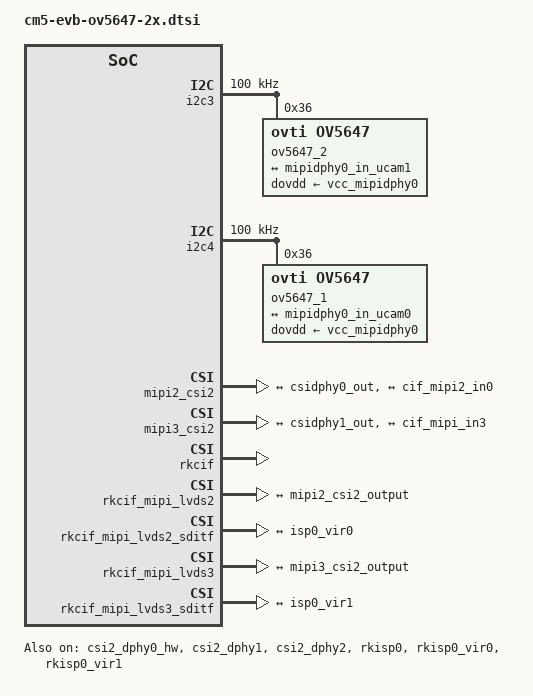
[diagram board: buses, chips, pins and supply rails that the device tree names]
// SPDX-License-Identifier: (GPL-2.0+ OR MIT)
/*
 * Copyright (c) 2021 Rockchip Electronics Co., Ltd.
 *
 */
 
 /*mipi csi*/
 
&i2c3 {
	status = "okay";
	pinctrl-names = "default";
	pinctrl-0 = <&i2c3m0_xfer>;
	clock-frequency = <100000>;
	ov5647_2: ov5647-2@36 {
                status = "okay";
                compatible = "ovti,ov5647";
                reg = <0x36>;
				clocks = <&cru CLK_MIPI_CAMARAOUT_M0>;
                clock-names = "xvclk";
				power-domains = <&power RK3588_PD_VI>;
				dovdd-supply = <&vcc_mipidphy0>;
				rockchip,camera-module-index = <1>;
				rockchip,camera-module-facing = "front";
				rockchip,camera-module-name = "THDS11073LarganCAM0";
				rockchip,camera-module-lens-name = "40122a1";

                port {
                        ov5647_out2: endpoint {
                                remote-endpoint = <&mipidphy0_in_ucam1>;
                                data-lanes = <1 2>;
                        };
                };
        };

};

&i2c4 {
	status = "okay";
	pinctrl-names = "default";
	pinctrl-0 = <&i2c4m3_xfer>;
	clock-frequency = <100000>;
	ov5647_1: ov5647-1@36 {
                status = "okay";
                compatible = "ovti,ov5647";
                reg = <0x36>;
				clocks = <&cru CLK_MIPI_CAMARAOUT_M0>;
                clock-names = "xvclk";
				power-domains = <&power RK3588_PD_VI>;
				dovdd-supply = <&vcc_mipidphy0>;
				rockchip,camera-module-index = <1>;
				rockchip,camera-module-facing = "front";
				rockchip,camera-module-name = "THDS11073LarganCAM0";
				rockchip,camera-module-lens-name = "40122a1";

                port {
                        ov5647_out1: endpoint {
                                remote-endpoint = <&mipidphy0_in_ucam0>;
                                data-lanes = <1 2>;
                        };
                };
        };

};

&csi2_dphy0_hw {
	status = "okay";
};

&csi2_dphy1 {
	status = "okay";

	ports {
		#address-cells = <1>;
		#size-cells = <0>;
		port@0 {
			reg = <0>;
			#address-cells = <1>;
			#size-cells = <0>;

			mipidphy0_in_ucam0: endpoint@1 {
				reg = <1>;
				remote-endpoint = <&ov5647_out1>;
				data-lanes = <1 2>;
			};

		};
		port@1 {
			reg = <1>;
			#address-cells = <1>;
			#size-cells = <0>;

			csidphy0_out: endpoint@0 {
				reg = <0>;
				remote-endpoint = <&mipi2_csi2_input>;
			};
		};
	};
};

&csi2_dphy2 {
	status = "okay";

	ports {
		#address-cells = <1>;
		#size-cells = <0>;
		port@0 {
			reg = <0>;
			#address-cells = <1>;
			#size-cells = <0>;

			mipidphy0_in_ucam1: endpoint@1 {
				reg = <1>;
				remote-endpoint = <&ov5647_out2>;
				data-lanes = <1 2>;
			};

		};
		port@1 {
			reg = <1>;
			#address-cells = <1>;
			#size-cells = <0>;

			csidphy1_out: endpoint@0 {
				reg = <0>;
				remote-endpoint = <&mipi3_csi2_input>;
			};
		};
	};
};

&mipi2_csi2 {
	status = "okay";

	ports {
		#address-cells = <1>;
		#size-cells = <0>;

		port@0 {
			reg = <0>;
			#address-cells = <1>;
			#size-cells = <0>;

			mipi2_csi2_input: endpoint@1 {
				reg = <1>;
				remote-endpoint = <&csidphy0_out>;
			};
		};

		port@1 {
			reg = <1>;
			#address-cells = <1>;
			#size-cells = <0>;

			mipi2_csi2_output: endpoint@0 {
				reg = <0>;
				remote-endpoint = <&cif_mipi2_in0>;
			};
		};
	};
};

&mipi3_csi2 {
	status = "okay";

	ports {
		#address-cells = <1>;
		#size-cells = <0>;

		port@0 {
			reg = <0>;
			#address-cells = <1>;
			#size-cells = <0>;

			mipi3_csi2_input: endpoint@1 {
				reg = <1>;
				remote-endpoint = <&csidphy1_out>;
			};
		};

		port@1 {
			reg = <1>;
			#address-cells = <1>;
			#size-cells = <0>;

			mipi3_csi2_output: endpoint@0 {
				reg = <0>;
				remote-endpoint = <&cif_mipi_in3>;
			};
		};
	};
};

&rkcif {
	status = "okay";
};

&rkcif_mipi_lvds2 {
	status = "okay";

	port {
		cif_mipi2_in0: endpoint {
			remote-endpoint = <&mipi2_csi2_output>;
		};
	};
};

&rkcif_mipi_lvds2_sditf {
	status = "okay";

	port {
		mipi_lvds2_sditf: endpoint {
			remote-endpoint = <&isp0_vir0>;
		};
	};
};

&rkcif_mipi_lvds3 {
	status = "okay";

	port {
		cif_mipi_in3: endpoint {
			remote-endpoint = <&mipi3_csi2_output>;
		};
	};
};

&rkcif_mipi_lvds3_sditf {
	status = "okay";

	port {
		mipi3_lvds_sditf: endpoint {
			remote-endpoint = <&isp0_vir1>;
		};
	};
};


&rkcif_mmu {
        status = "okay";
};

&rkisp0 {
	status = "okay";
};

&isp0_mmu {
	status = "okay";
};

&rkisp0_vir0 {
	status = "okay";

	port {
		#address-cells = <1>;
		#size-cells = <0>;

		isp0_vir0: endpoint@0 {
			reg = <0>;
			remote-endpoint = <&mipi_lvds2_sditf>;
		};
	};
};

&rkisp0_vir1 {
	status = "okay";

	port {
		#address-cells = <1>;
		#size-cells = <0>;

		isp0_vir1: endpoint@0 {
			reg = <0>;
			remote-endpoint = <&mipi3_lvds_sditf>;
		};
	};
};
